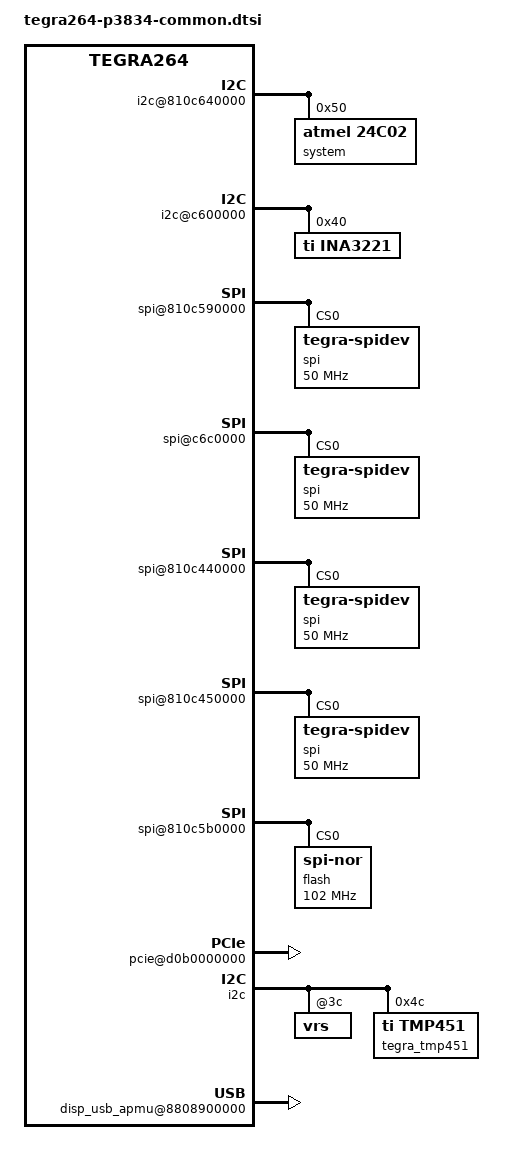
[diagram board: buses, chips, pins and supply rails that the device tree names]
// SPDX-License-Identifier: GPL-2.0-only
// SPDX-FileCopyrightText: Copyright (c) 2024-2025, NVIDIA CORPORATION & AFFILIATES.  All rights reserved.

#include "tegra264.dtsi"
#include "nv-soc/tegra264-soc-prod.dtsi"
#include "nv-soc/tegra264-soc-thermal.dtsi"

/ {
	skip_hugetlbfs_configuration;

	bus@0 {
		efuse-helper {
			status = "okay";
		};

		timer@8000000 {
			status = "okay";
		};

		actmon@d3f0000 {
			status = "okay";
		};

		gpio@cf00000 {
			status = "okay";
		};

		i2c@810c640000 {
			status = "okay";
			/* CVM EEPROM */
			eeprom@50 {
				compatible = "atmel,24c02";
				reg = <0x50>;

				label = "system";
				address-width = <8>;
				pagesize = <8>;
				size = <256>;
				read-only;
			};
		};

		gpio@a808300000 {
			status = "okay";
		};

		gpio@810c300000 {
			status = "okay";
		};

		i2c@c600000 {
			status = "okay";
			ina3221@40 {
				compatible = "ti,ina3221";
				reg = <0x40>;
				#address-cells = <1>;
				#size-cells = <0>;
				status = "okay";
				channel@0 {
					reg = <0x0>;
					label = "VDD_GPU";
					shunt-resistor-micro-ohms = <2000>;
				};
				channel@1 {
					reg = <0x1>;
					label = "VDD_CPU_SOC_MSS";
					shunt-resistor-micro-ohms = <2000>;
				};
				channel@2 {
					reg = <0x2>;
					label = "VIN_SYS_5V0";
					shunt-resistor-micro-ohms = <2000>;
					ti,summation-disable;
				};
			};
		};

		pinmux@810c281000 {
			status = "okay";
		};

		pinmux@a8082e0000 {
			status = "okay";
		};

		pinmux@c7a2000 {
			status = "okay";
		};

		spi@810c590000 {
			status = "okay";
			spi@0 {
				/* chip select 0 */
				compatible = "tegra-spidev";
				reg = <0x0>;
				spi-max-frequency = <50000000>;
			};
		};

		spi@c6c0000 {
			status = "okay";
			spi@0 {
				/* chip select 0 */
				compatible = "tegra-spidev";
				reg = <0x0>;
				spi-max-frequency = <50000000>;
			};
		};

		spi@810c440000 {
			status = "okay";
			spi@0 {
				/* chip select 0 */
				compatible = "tegra-spidev";
				reg = <0x0>;
				spi-max-frequency = <50000000>;
			};
		};

		spi@810c450000 {
			status = "okay";
			spi@0 {
				/* chip select 0 */
				compatible = "tegra-spidev";
				reg = <0x0>;
				spi-max-frequency = <50000000>;
			};
		};

		/* QSPI0 */
		spi@810c5b0000 {
			status = "okay";

			flash@0 {
				compatible = "jedec,spi-nor";
				reg = <0>;
				spi-max-frequency = <102000000>;
				spi-tx-bus-width = <4>;
				spi-rx-bus-width = <4>;
			};
		};

		iommu@8105000000 {
			status = "okay";
		};

		iommu@8106000000 {
			status = "okay";
		};

		iommu@810a000000 {
			status = "okay";
		};

		iommu@810b000000 {
			status = "okay";
		};

		iommu@8806000000 {
			status = "okay";
		};

		pmc@c800000 {
			nvidia,invert-interrupt;
			status = "okay";
		};

		efuse@1000000 {
			status = "okay";
		};

		sys-cbb-fabric@800000 {
			status = "okay";
		};

		top0-cbb-fabric@8100800000 {
			status = "okay";
		};

		tegra_soc_hwpm@1604000 {
			status = "okay";
		};

		hardware-timestamp@c2b0000 {
			status = "okay";
		};

		hardware-timestamp@8380000 {
			status = "okay";
		};

		tegra-utc@c4e0000 {
			status = "okay";
		};

		tegra-utc@c5a0000 {
			status = "okay";
		};

		rtc@c2c0000 {
			status = "okay";
		};

		tegra-hsp@8800000 {
			status = "okay";
		};

		tegra-hsp@8c00000 {
			status = "okay";
		};

		tegra-hsp@8189100000 {
			status = "okay";
		};

		tegra-hsp@8189200000 {
			status = "okay";
		};

		memory-controller@8108020000 {
			status = "okay";

			external-memory-controller@8108800000 {
				status = "okay";
			};
		};

		memory-controller-hwpm@8108020000 {
			status = "okay";
		};

		host1x@8181200000 {
			status = "okay";

			vic@8188050000 {
				status = "okay";
			};

			pva0@818c000000 {
				status = "okay";
				pva0_ctx0: pva0_niso1_ctx0 {
					status = "okay";
				};
				pva0_ctx1: pva0_niso1_ctx1 {
					status = "okay";
				};
				pva0_ctx2: pva0_niso1_ctx2 {
					status = "okay";
				};
				pva0_ctx3: pva0_niso1_ctx3 {
					status = "okay";
				};
				pva0_ctx4: pva0_niso1_ctx4 {
					status = "okay";
				};
				pva0_ctx5: pva0_niso1_ctx5 {
					status = "okay";
				};
				pva0_ctx6: pva0_niso1_ctx6 {
					status = "okay";
				};
				pva0_ctx7: pva0_niso1_ctx7 {
					status = "okay";
				};
				pva0_ctx8: pva0_niso1_ctx8 {
					status = "okay";
				};
			};

			crypto@8188110000 {
				status = "okay";
			};

			crypto@8188120000 {
				status = "okay";
			};

			crypto@8188140000 {
				status = "okay";
			};

			crypto@8189880000 {
				status = "disabled";
			};
		};

		/* PCIe C0 ecam generic node for iGPU */
		pcie@d0b0000000 {
			power-domains = <&bpmp TEGRA264_POWER_DOMAIN_GPU>;
			status = "okay";
		};

		mc_carveout@8108020000 {
			status = "okay";
		};

		dma-controller@8400000 {
			status = "okay";
		};

		ccplex@8120000000 {
			status = "okay";
		};
	};

	nvpmodel {
		status = "okay";
	};

	eeprom-manager {
		data-size = <0x100>;
		bus@0 {
			i2c-bus = <&i2c1>;
			eeprom@0 {
				slave-address = <0x50>;
				label = "cvm";
			};
		};

		bus@1 {
			i2c-bus = <&pwr_i2c>;
			eeprom@0 {
				slave-address = <0x4c>;
				label = "thermal_sensor";
			};
		};
	};

	bpmp {
		status = "okay";
		i2c {
			status = "okay";

			vrs@3c {
				status = "okay";
			};

			tegra_tmp451: thermal-sensor@4c {
				compatible = "ti,tmp451";
				status = "okay";

				reg = <0x4c>;
				#thermal-sensor-cells = <1>;
			};
		};

		thermal {
			status = "okay";
		};
	};

	chosen {
		bootargs = "BOOT_IMAGE=/EFI/BOOT/Image tegra_keep_boot_clocks clk_ignore_unused earlyprintk=tegra_utc,mmio32,0xc4e0000 earlycon=tegra_utc,mmio32,0xc4e0000 androidboot.selinux=disabled console=ttyUTC0,115200 root=/dev/initrd rw rootwait rootwait rw rootfstype=ext4 firmware_class.path=/etc/firmware kmemleak=off pci=pcie_bus_perf nvme.use_threaded_interrupts=1";
		stdout-path = "/bus@0/tegra-utc@c4e0000";
	};

	cpus {
		status = "okay";

		cpu@0 {
			status = "okay";
		};

		cpu@1 {
			status = "okay";
		};

		cpu@2 {
			status = "okay";
		};

		cpu@3 {
			status = "okay";
		};

		cpu@4 {
			status = "okay";
		};

		cpu@5 {
			status = "okay";
		};

		cpu@6 {
			status = "okay";
		};

		cpu@7 {
			status = "okay";
		};

		cpu@8 {
			status = "okay";
		};

		cpu@9 {
			status = "okay";
		};

		cpu@10 {
			status = "okay";
		};

		cpu@11 {
			status = "okay";
		};

		cpu@12 {
			status = "okay";
		};

		cpu@13 {
			status = "okay";
		};

		idle-states {
			cc7 {
				status = "okay";
			};
		};
	};

	tegra-carveouts {
		status = "okay";
	};

	reserved-memory {
		status = "okay";

		fsi-carveout {
			status = "okay";
		};

		linux,cma {
			status = "okay";
		};

		bpmp-shmem@0 {
			status = "okay";
		};
	};

	psci {
		status = "okay";
	};

	interrupt-controller@8146000000 {
		status = "okay";
		its@8146040000 {
			status = "okay";
		};
	};

	timer {
		status = "okay";
	};

	/* Check if it has to go with L4TConfigurations.dtbo */
	firmware {
		uefi {
			variables {
				gDtPlatformFormSetGuid {
					DtAcpiPref {
						data = <0x0>;
						non-volatile;
					};
				};
			};
		};
	};

	smmu_test {
		status = "okay";
	};

	pmu {
		status = "okay";
	};

	spe-pmu {
		status = "okay";
	};

	ucf_uapmu@140c0000 {
		status = "okay";
	};

	disp_usb_apmu@8808900000 {
		status = "okay";
	};

	ucf_gpu_apmu@810c248000 {
		status = "okay";
	};

	uphy_apmu@a808880000 {
		status = "okay";
	};

	vision_apmu@818a000000 {
		status = "okay";
	};

	ete_cpu_0 {
		status = "okay";
	};

	ete_cpu_1 {
		status = "okay";
	};

	ete_cpu_2 {
		status = "okay";
	};

	ete_cpu_3 {
		status = "okay";
	};

	ete_cpu_4 {
		status = "okay";
	};

	ete_cpu_5 {
		status = "okay";
	};

	ete_cpu_6 {
		status = "okay";
	};

	ete_cpu_7 {
		status = "okay";
	};

	ete_cpu_8 {
		status = "okay";
	};

	ete_cpu_9 {
		status = "okay";
	};

	ete_cpu_10 {
		status = "okay";
	};

	ete_cpu_11 {
		status = "okay";
	};

	ete_cpu_12 {
		status = "okay";
	};

	ete_cpu_13 {
		status = "okay";
	};

	trbe {
		status = "okay";
	};
};
